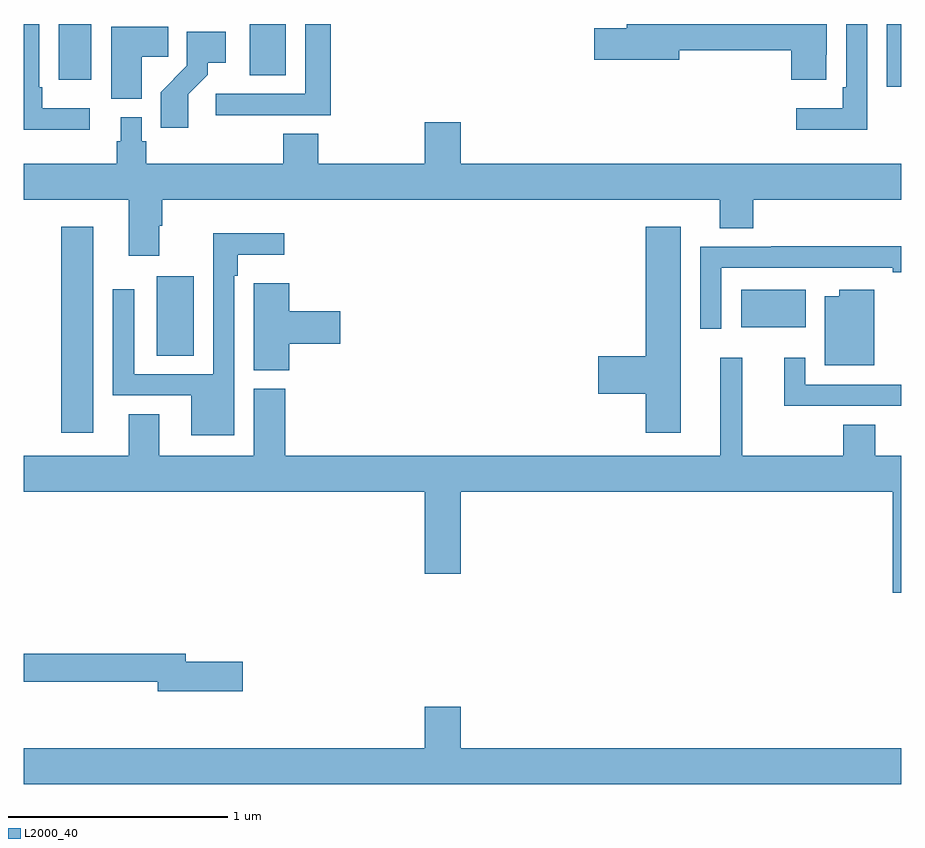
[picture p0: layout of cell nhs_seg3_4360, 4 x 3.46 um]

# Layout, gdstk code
import gdstk
lib = gdstk.Library(unit=1e-6, precision=1e-09)
def R(c, l, rs):  # rectangles x0, y0, x1, y1
    for r in rs: c.add(gdstk.rectangle(r[:2], r[2:], *l))
def P(c, l, *ps):  # polygons
    for p in ps: c.add(gdstk.Polygon(p, *l))
L2000_40 = (2000, 40)

nhs_seg3_4360 = lib.new_cell('nhs_seg3_4360')
R(nhs_seg3_4360, L2000_40, [(343.172,682.536,343.318,683.476), (343.607,682.888,343.774,683.251), (346.271,683.018,346.564,683.188), (346.934,684.114,347,684.4), (343.16,684.147,343.309,684.4), (344.03,684.166,344.194,684.4)])
P(nhs_seg3_4360, L2000_40, [(343.3,684.016),(343.084,684.016),(343.084,684.112),(343.071,684.112),(343.071,684.4),(343,684.4),(343,683.918),(343.3,683.918)],
  [(346.845,684.4),(346.749,684.4),(346.749,684.112),(346.733,684.112),(346.733,684.016),(346.521,684.016),(346.521,683.918),(346.845,683.918)],
  [(344.099,683.985),(344.399,683.985),(344.399,684.4),(344.283,684.4),(344.283,684.081),(343.875,684.081),(343.875,683.983),(344.099,683.983)],
  [(346.659,684.259),(346.66,684.259),(346.66,684.4),(345.749,684.4),(345.749,684.38),(345.6,684.38),(345.6,684.238),(345.988,684.238),(345.988,684.28),(346.499,684.28),(346.499,684.147),(346.659,684.147)],
  [(343.537,684.25),(343.658,684.25),(343.658,684.388),(343.4,684.388),(343.4,684.059),(343.537,684.059)],
  [(343.75,684.079),(343.84,684.169),(343.84,684.224),(343.921,684.224),(343.921,684.364),(343.743,684.364),(343.743,684.209),(343.624,684.09),(343.624,683.928),(343.75,683.928)],
  [(343.478,683.343),(343.618,683.343),(343.618,683.48),(343.631,683.48),(343.631,683.6),(346.172,683.6),(346.172,683.47),(346.325,683.47),(346.325,683.6),(347,683.6),(347,683.764),(344.992,683.764),(344.992,683.953),(344.828,683.953),(344.828,683.764),(344.343,683.764),(344.343,683.9),(344.183,683.9),(344.183,683.764),(343.559,683.764),(343.559,683.865),(343.539,683.865),(343.539,683.974),(343.442,683.974),(343.442,683.865),(343.423,683.865),(343.423,683.764),(343,683.764),(343,683.6),(343.478,683.6)],
  [(345.994,683.476),(345.836,683.476),(345.836,682.886),(345.618,682.886),(345.618,682.715),(345.836,682.715),(345.836,682.536),(345.994,682.536)],
  [(343.959,683.252),(343.975,683.252),(343.975,683.348),(344.188,683.348),(344.188,683.446),(343.863,683.446),(343.863,682.803),(343.503,682.803),(343.503,683.191),(343.407,683.191),(343.407,682.707),(343.763,682.707),(343.763,682.526),(343.959,682.526)],
  [(346.179,683.289),(346.961,683.289),(346.961,683.269),(347,683.269),(347,683.387),(346.408,683.387),(346.408,683.385),(346.083,683.385),(346.083,683.01),(346.179,683.01)],
  [(344.21,682.943),(344.443,682.943),(344.443,683.09),(344.21,683.09),(344.21,683.218),(344.049,683.218),(344.049,683.105),(344.048,683.105),(344.048,682.822),(344.21,682.822)],
  [(346.876,683.188),(346.718,683.188),(346.718,683.158),(346.652,683.158),(346.652,682.844),(346.876,682.844)],
  [(347,682.432),(346.882,682.432),(346.882,682.574),(346.735,682.574),(346.735,682.432),(346.274,682.432),(346.274,682.879),(346.175,682.879),(346.175,682.432),(344.192,682.432),(344.192,682.737),(344.048,682.737),(344.048,682.432),(343.618,682.432),(343.618,682.622),(343.478,682.622),(343.478,682.432),(343,682.432),(343,682.268),(344.828,682.268),(344.828,681.894),(344.992,681.894),(344.992,682.268),(346.961,682.268),(346.961,681.807),(347,681.807)],
  [(347,682.755),(346.563,682.755),(346.563,682.879),(346.466,682.879),(346.466,682.659),(347,682.659)],
  [(343.999,681.494),(343.738,681.494),(343.738,681.53),(343,681.53),(343,681.402),(343.61,681.402),(343.61,681.359),(343.999,681.359)],
  [(347,681.1),(344.992,681.1),(344.992,681.289),(344.828,681.289),(344.828,681.1),(343,681.1),(343,680.936),(347,680.936)])

lib.write_gds('nhs_seg3_4360.gds')
